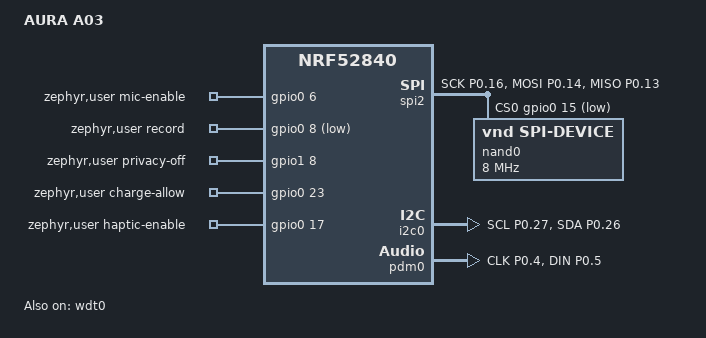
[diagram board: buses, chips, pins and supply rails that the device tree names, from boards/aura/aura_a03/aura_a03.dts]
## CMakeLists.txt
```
cmake_minimum_required(VERSION 3.20.0)
list(APPEND BOARD_ROOT ${CMAKE_CURRENT_SOURCE_DIR})
find_package(Zephyr REQUIRED HINTS $ENV{ZEPHYR_BASE})
project(aura_a03)
target_include_directories(app PRIVATE include)
target_sources(app PRIVATE src/main.c src/journal.c src/nand.c src/protocol.c)
```

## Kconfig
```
mainmenu "AURA A03"
source "Kconfig.zephyr"
config AURA_CHARGE_QUALIFIED
 bool "Enable reviewed charging hardware after pack and thermal qualification"
 default n
 help
   Keep disabled until the assembled pack, NTC and cutoff circuit are qualified.
config AURA_HAPTIC_QUALIFIED
 bool "Enable experimentally qualified C08-00A haptic settings"
 default n
 help
   Enable only after measuring motor RMS/peak voltage and auto-calibration.
```

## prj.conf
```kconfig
CONFIG_GPIO=y
CONFIG_PINCTRL=y
CONFIG_SPI=y
CONFIG_I2C=y
CONFIG_AUDIO=y
CONFIG_AUDIO_DMIC=y
CONFIG_WATCHDOG=y
CONFIG_BT=y
CONFIG_BT_PERIPHERAL=y
CONFIG_BT_DEVICE_NAME="AURA"
CONFIG_BT_MAX_CONN=1
CONFIG_BT_MAX_PAIRED=4
CONFIG_BT_L2CAP_TX_MTU=247
CONFIG_BT_BUF_ACL_RX_SIZE=251
CONFIG_BT_BUF_ACL_TX_SIZE=251
CONFIG_BT_GATT_CLIENT=y
CONFIG_BT_SMP=y
CONFIG_BT_SMP_APP_PAIRING_ACCEPT=y
CONFIG_BT_SMP_SC_ONLY=y
CONFIG_BT_BONDABLE=y
CONFIG_BT_SETTINGS=y
CONFIG_BT_FILTER_ACCEPT_LIST=y
CONFIG_SETTINGS=y
CONFIG_SETTINGS_NVS=y
CONFIG_NVS=y
CONFIG_FLASH=y
CONFIG_FLASH_MAP=y
CONFIG_FLASH_PAGE_LAYOUT=y
CONFIG_HWINFO=y
CONFIG_BT_GATT_DYNAMIC_DB=n
CONFIG_MAIN_STACK_SIZE=4096
CONFIG_SYSTEM_WORKQUEUE_STACK_SIZE=4096
CONFIG_HEAP_MEM_POOL_SIZE=8192
CONFIG_ASSERT=y
CONFIG_REBOOT=y
CONFIG_CONSOLE=n
CONFIG_UART_CONSOLE=n
CONFIG_SERIAL=n
CONFIG_LOG=n
CONFIG_CLOCK_CONTROL_NRF_K32SRC_RC=y
CONFIG_CLOCK_CONTROL_NRF_K32SRC_500PPM=y
CONFIG_CLOCK_CONTROL_NRF_K32SRC_RC_CALIBRATION=y
CONFIG_POWEROFF=y
CONFIG_SIZE_OPTIMIZATIONS=y
CONFIG_BUILD_OUTPUT_BIN=y
CONFIG_BUILD_OUTPUT_HEX=y
CONFIG_USE_DT_CODE_PARTITION=y
CONFIG_AURA_CHARGE_QUALIFIED=n
CONFIG_AURA_HAPTIC_QUALIFIED=n
```

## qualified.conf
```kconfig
# Laboratory-only configuration. Complete README qualification gates first.
# This is not evidence that the pack, NTC or LRA has been qualified.
CONFIG_AURA_CHARGE_QUALIFIED=y
CONFIG_AURA_HAPTIC_QUALIFIED=y
```

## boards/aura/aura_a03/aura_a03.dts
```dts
/dts-v1/;
#include <nordic/nrf52840_qiaa.dtsi>
#include <zephyr/dt-bindings/gpio/gpio.h>
#include <zephyr/dt-bindings/pinctrl/nrf-pinctrl.h>
/ {
 model = "AURA A03";
 compatible = "aura,a03";
 chosen { zephyr,sram = &sram0; zephyr,flash = &flash0; zephyr,code-partition = &app_partition; };
 zephyr,user {
  mic-enable-gpios = <&gpio0 6 GPIO_ACTIVE_HIGH>;
  record-gpios = <&gpio0 8 (GPIO_PULL_UP | GPIO_ACTIVE_LOW)>;
  privacy-off-gpios = <&gpio1 8 (GPIO_PULL_UP | GPIO_ACTIVE_HIGH)>;
  charge-allow-gpios = <&gpio0 23 GPIO_ACTIVE_HIGH>;
  haptic-enable-gpios = <&gpio0 17 GPIO_ACTIVE_HIGH>;
 };
};
&gpio0 {status = "okay";};
&gpio1 {status = "okay";};
&gpiote {status = "okay";};
&wdt0 {status = "okay";};
&uicr {gpio-as-nreset;};
&pinctrl {
 spi_default: spi_default {group1 {psels = <NRF_PSEL(SPIM_SCK,0,16)>, <NRF_PSEL(SPIM_MOSI,0,14)>, <NRF_PSEL(SPIM_MISO,0,13)>;};};
 spi_sleep: spi_sleep {group1 {psels = <NRF_PSEL(SPIM_SCK,0,16)>, <NRF_PSEL(SPIM_MOSI,0,14)>, <NRF_PSEL(SPIM_MISO,0,13)>;low-power-enable;};};
 i2c_default: i2c_default {group1 {psels = <NRF_PSEL(TWIM_SCL,0,27)>, <NRF_PSEL(TWIM_SDA,0,26)>;};};
 i2c_sleep: i2c_sleep {group1 {psels = <NRF_PSEL(TWIM_SCL,0,27)>, <NRF_PSEL(TWIM_SDA,0,26)>;low-power-enable;};};
 pdm_default: pdm_default {group1 {psels = <NRF_PSEL(PDM_CLK,0,4)>, <NRF_PSEL(PDM_DIN,0,5)>;};};
 pdm_sleep: pdm_sleep {group1 {psels = <NRF_PSEL(PDM_CLK,0,4)>, <NRF_PSEL(PDM_DIN,0,5)>;low-power-enable;};};
};
&spi2 {
 compatible = "nordic,nrf-spim";
 status = "okay";
 pinctrl-0 = <&spi_default>; pinctrl-1 = <&spi_sleep>; pinctrl-names = "default", "sleep";
 cs-gpios = <&gpio0 15 GPIO_ACTIVE_LOW>;
 nand0: nand@0 {compatible = "vnd,spi-device";reg = <0>;spi-max-frequency = <8000000>;};
};
&i2c0 {
 compatible = "nordic,nrf-twim"; status = "okay";
 pinctrl-0 = <&i2c_default>; pinctrl-1 = <&i2c_sleep>; pinctrl-names = "default", "sleep";
};
&pdm0 {status = "okay";pinctrl-0 = <&pdm_default>;pinctrl-1 = <&pdm_sleep>;pinctrl-names = "default", "sleep";};
&flash0 {
 partitions {compatible = "fixed-partitions";#address-cells = <1>;#size-cells = <1>;
  app_partition: partition@0 {label = "image-0";reg = <0x00000000 0x000f8000>;};
  storage_partition: partition@f8000 {label = "storage";reg = <0x000f8000 0x00008000>;};
 };
};
```

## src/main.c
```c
/* SPDX-License-Identifier: MIT */
#include "aura.h"
#include "nand.h"
#include "gestures.h"
#include "pcm.h"
#include "maintenance.h"
#include <zephyr/settings/settings.h>
#include <zephyr/audio/dmic.h>
#include <zephyr/drivers/gpio.h>
#include <zephyr/drivers/i2c.h>
#include <zephyr/drivers/watchdog.h>
#include <zephyr/sys/atomic.h>
#include <zephyr/sys/byteorder.h>
#include <zephyr/sys/reboot.h>
#include <zephyr/fatal.h>
#include <errno.h>
#include <string.h>
struct aj_store aura_store;
K_MUTEX_DEFINE(aura_store_lock);
volatile uint8_t aura_state;
volatile bool aura_privacy = true, aura_charge_allowed;
volatile uint16_t aura_battery_mv;
static const struct gpio_dt_spec mic = GPIO_DT_SPEC_GET(DT_PATH(zephyr_user), mic_enable_gpios),
                                 record = GPIO_DT_SPEC_GET(DT_PATH(zephyr_user), record_gpios),
                                 privacy =
                                     GPIO_DT_SPEC_GET(DT_PATH(zephyr_user), privacy_off_gpios),
                                 charge =
                                     GPIO_DT_SPEC_GET(DT_PATH(zephyr_user), charge_allow_gpios),
                                 haptic =
                                     GPIO_DT_SPEC_GET(DT_PATH(zephyr_user), haptic_enable_gpios);
static const struct device *pdm = DEVICE_DT_GET(DT_NODELABEL(pdm0)),
                           *i2c = DEVICE_DT_GET(DT_NODELABEL(i2c0)),
                           *wdt = DEVICE_DT_GET(DT_NODELABEL(wdt0));
static uint64_t unix_anchor;
static int64_t uptime_anchor;
static struct k_spinlock time_lock;
static atomic_t wanted, storage_ready, mark_pending;
static bool format_intent;
static uint32_t id_floor = 1;
static int64_t maintenance_until;
static bool haptic_ready;
static int watchdog_channel = -1;
static atomic_t audio_heartbeat;
static struct gpio_callback privacy_cb;
K_MEM_SLAB_DEFINE_STATIC(audio_slab, 2560, 8, 4);
K_THREAD_STACK_DEFINE(audio_stack, 4096);
static struct k_thread audio_thread;
bool aura_capture_pending(void)
{
    return atomic_get(&wanted) != 0;
}
static int load_maintenance(const char *key, size_t len, settings_read_cb read, void *arg)
{
    if (!strcmp(key, "nextid") && len == 4) {
        uint8_t bytes[4];
        if (read(arg, bytes, 4) != 4)
            return -EIO;
        id_floor = sys_get_le32(bytes);
        return id_floor ? 0 : -EINVAL;
    }
    if (strcmp(key, "erase") || len != 1)
        return -ENOENT;
    uint8_t value = 0;
    int r = read(arg, &value, 1);
    if (r != 1)
        return -EIO;
    format_intent = value != 0;
    return 0;
}
SETTINGS_STATIC_HANDLER_DEFINE(aura_persistence, "aura", NULL, load_maintenance, NULL, NULL);
static int save_intent(bool enabled)
{
    if (aura_store.next_id > id_floor)
        id_floor = aura_store.next_id;
    if (aura_store.next_id < id_floor)
        aura_store.next_id = id_floor;
    uint8_t id[4];
    sys_put_le32(id_floor, id);
    int r = settings_save_one("aura/nextid", id, 4);
    if (r)
        return r;
    uint8_t v = enabled ? 1 : 0;
    r = settings_save_one("aura/erase", &v, 1);
    if (!r)
        format_intent = enabled;
    return r;
}
int aura_format(void)
{
    /* Called with the storage mutex held; a new physical gesture is required per attempt. */
    if (!atomic_get(&storage_ready) || aura_store.fault || aura_state == 1 || aura_state == 2 ||
        atomic_get(&wanted) || k_uptime_get() >= maintenance_until ||
        !aura_all_deleted(&aura_store))
        return -EPERM;
    maintenance_until = 0;
    atomic_clear(&storage_ready);
    aura_state = 2;
    gpio_pin_set_dt(&charge, 0);
    aura_charge_allowed = false;
    int r = aura_erase_run(&aura_store,
                           (struct aura_maintenance_io){save_intent, aura_nand_erase_block}, false);
    if (r) {
        aura_store.fault = true;
        aura_state = 4;
    } else {
        atomic_set(&storage_ready, 1);
        aura_state = aura_privacy ? 3 : 0;
    }
    return r;
}
uint64_t aura_time(void)
{
    k_spinlock_key_t k = k_spin_lock(&time_lock);
    uint64_t t = unix_anchor ? unix_anchor + (k_uptime_get() - uptime_anchor) / 1000 : 0;
    k_spin_unlock(&time_lock, k);
    return t;
}
void aura_set_time(uint64_t time)
{
    k_spinlock_key_t k = k_spin_lock(&time_lock);
    unix_anchor = time;
    uptime_anchor = k_uptime_get();
    k_spin_unlock(&time_lock, k);
}
static void fail_off(void)
{
    gpio_pin_set_dt(&mic, 0);
    gpio_pin_set_dt(&charge, 0);
    aura_charge_allowed = false;
    atomic_clear(&wanted);
}
void k_sys_fatal_error_handler(unsigned int reason, const struct arch_esf *esf)
{
    ARG_UNUSED(reason);
    ARG_UNUSED(esf);
    if (gpio_is_ready_dt(&mic))
        gpio_pin_set_dt(&mic, 0);
    if (gpio_is_ready_dt(&charge))
        gpio_pin_set_dt(&charge, 0);
    if (gpio_is_ready_dt(&haptic))
        gpio_pin_set_dt(&haptic, 0);
    sys_reboot(SYS_REBOOT_COLD);
}
static void privacy_interrupt(const struct device *dev, struct gpio_callback *cb, uint32_t pins)
{
    ARG_UNUSED(dev);
    ARG_UNUSED(cb);
    ARG_UNUSED(pins);
    if (gpio_pin_get_dt(&privacy) != 0) {
        gpio_pin_set_dt(&mic, 0);
        atomic_clear(&wanted);
        aura_privacy = true;
    }
}
static int gauge_read(void)
{
    uint8_t bytes[2];
    int r = i2c_burst_read(i2c, 0x36, 0x02, bytes, 2);
    if (r) {
        aura_battery_mv = 0;
        return r;
    }
    aura_battery_mv = ((uint32_t)sys_get_be16(bytes) * 625) / 8000;
    return 0;
}
static int haptic_init(void)
{
    if (!IS_ENABLED(CONFIG_AURA_HAPTIC_QUALIFIED))
        return 0;
    /* Conservative engineering target only. C08-00A: 0.84 Vrms, 240 Hz.
     * DRV2605L datasheet equations: sample_time=300us, DRIVE_TIME=2.1ms.
     * Rated register round(0.84*sqrt(1-(4*.0003+.0003)*240)/.02058)=33.
     * Clamp round(1.20/.02133)=56, below candidate 1.25V maximum.
     * Scope RMS/peaks and verify resonant behavior before qualifying this option. */
    gpio_pin_set_dt(&haptic, 1);
    k_msleep(2);
    uint8_t status;
    int r = i2c_reg_read_byte(i2c, 0x5a, 0, &status);
    if (r || (status >> 5) != 7)
        goto fail;
    const uint8_t regs[][2] = {{1, 0},       {0x16, 33},   {0x17, 56},   {0x1a, 0xb6}, {0x1b, 0x14},
                               {0x1c, 0xf5}, {0x1d, 0x80}, {0x1e, 0x30}, {1, 7},       {0x0c, 1}};
    for (unsigned n = 0; n < ARRAY_SIZE(regs); n++)
        if (i2c_reg_write_byte(i2c, 0x5a, regs[n][0], regs[n][1]))
            goto fail;
    for (int n = 0; n < 100; n++) {
        uint8_t go;
        if (i2c_reg_read_byte(i2c, 0x5a, 0x0c, &go))
            goto fail;
        if (!go) {
            if (i2c_reg_read_byte(i2c, 0x5a, 0, &status) || status & 0x08)
                goto fail;
            haptic_ready = true;
            gpio_pin_set_dt(&haptic, 0);
            return 0;
        }
        k_msleep(10);
    }
fail:
    gpio_pin_set_dt(&haptic, 0);
    return -EIO;
}
static void feedback(void)
{
    if (!haptic_ready)
        return;
    gpio_pin_set_dt(&haptic, 1);
    k_msleep(2);
    if (i2c_reg_write_byte(i2c, 0x5a, 1, 5) || i2c_reg_write_byte(i2c, 0x5a, 2, 35)) {
        haptic_ready = false;
        gpio_pin_set_dt(&haptic, 0);
        return;
    }
    k_msleep(30);
    i2c_reg_write_byte(i2c, 0x5a, 2, 0);
    gpio_pin_set_dt(&haptic, 0);
}
static void capture(void *a, void *b, void *c)
{
    ARG_UNUSED(a);
    ARG_UNUSED(b);
    ARG_UNUSED(c);
    bool running = false;
    uint8_t payload[AJ_PAYLOAD];
    unsigned used = 0;
    unsigned warmup = 0;
    struct pcm_stream_cfg stream = {
        .pcm_rate = 16000, .pcm_width = 16, .block_size = 2560, .mem_slab = &audio_slab};
    struct dmic_cfg cfg = {
        .io = {.min_pdm_clk_freq = 1280000,
               .max_pdm_clk_freq = 1280000,
               .min_pdm_clk_dc = 40,
               .max_pdm_clk_dc = 60},
        .streams = &stream,
        .channel = {.req_num_streams = 1, .req_num_chan = 2, .req_chan_map_lo = 0}};
    cfg.channel.req_chan_map_lo =
        dmic_build_channel_map(0, 0, PDM_CHAN_LEFT) | dmic_build_channel_map(1, 0, PDM_CHAN_RIGHT);
    while (1) {
        atomic_inc(&audio_heartbeat);
        if (!running) {
            if (!atomic_get(&wanted)) {
                k_msleep(10);
                continue;
            }
            if (aura_privacy || !atomic_get(&storage_ready) || aura_battery_mv < 3400) {
                atomic_clear(&wanted);
                continue;
            }
            k_mutex_lock(&aura_store_lock, K_FOREVER);
            int r = aj_begin(&aura_store, aura_time());
            k_mutex_unlock(&aura_store_lock);
            if (r) {
                aura_state = 4;
                atomic_clear(&wanted);
                continue;
            }
            used = 0;
            warmup = 2;
            r = dmic_configure(pdm, &cfg);
            if (!r && !aura_privacy && atomic_get(&wanted)) {
                gpio_pin_set_dt(&mic, 1);
                k_msleep(50);
                if (aura_privacy || !atomic_get(&wanted))
                    r = -ECANCELED;
                else
                    r = dmic_trigger(pdm, DMIC_TRIGGER_START);
            } else if (!r)
                r = -ECANCELED;
            if (r) {
                gpio_pin_set_dt(&mic, 0);
                k_mutex_lock(&aura_store_lock, K_FOREVER);
                aj_end(&aura_store, true);
                k_mutex_unlock(&aura_store_lock);
                atomic_clear(&wanted);
                aura_state = 4;
                continue;
            }
            running = true;
            aura_state = 1;
        }
        int r = 0;
        if (atomic_get(&wanted) && !aura_privacy) {
            void *buffer = NULL;
            uint32_t size = 0;
            r = dmic_read(pdm, 0, &buffer, &size, 250);
            if (!r) {
                /* Two 40 ms blocks with clocks present cover microphone power-up,
                 * wake and the PDM decimator's startup delay. Do not save transients. */
                if (warmup) {
                    warmup--;
                    k_mem_slab_free(&audio_slab, buffer);
                    continue;
                }
                if (size % 4)
                    r = -EBADMSG;
                int16_t *samples = buffer;
                for (unsigned i = 0; !r && i < size / 2; i += 2) {
                    /* Zephyr selects RATIO80 with the constrained 1.280 MHz clock:
                     * 32 MHz /25 /80 = exact 16000 Hz, within Knowles standard mode. */
                    sys_put_le16((uint16_t)aura_mix(samples[i], samples[i + 1]), payload + used);
                    used += 2;
                    if (used == AJ_PAYLOAD) {
                        k_mutex_lock(&aura_store_lock, K_FOREVER);
                        r = aj_append(&aura_store, payload, used);
                        k_mutex_unlock(&aura_store_lock);
                        used = 0;
                        if (r)
                            break;
                    }
                }
                k_mem_slab_free(&audio_slab, buffer);
            }
            if (atomic_cas(&mark_pending, 1, 0) && !r) {
                k_mutex_lock(&aura_store_lock, K_FOREVER);
                if (used) {
                    r = aj_append(&aura_store, payload, used);
                    used = 0;
                }
                if (!r)
                    r = aj_mark(&aura_store);
                k_mutex_unlock(&aura_store_lock);
            }
        }
        if (r || !atomic_get(&wanted) || aura_privacy) {
            gpio_pin_set_dt(&mic, 0);
            aura_state = 2;
            dmic_trigger(pdm, DMIC_TRIGGER_STOP);
            void *left;
            uint32_t left_size;
            while (dmic_read(pdm, 0, &left, &left_size, 0) == 0)
                k_mem_slab_free(&audio_slab, left);
            k_mutex_lock(&aura_store_lock, K_FOREVER);
            if (used && !r)
                r = aj_append(&aura_store, payload, used);
            int end = aj_end(&aura_store, r != 0);
            k_mutex_unlock(&aura_store_lock);
            atomic_clear(&wanted);
            running = false;
            atomic_clear(&mark_pending);
            aura_state = (r || end) ? 4 : (aura_privacy ? 3 : 0);
            if (r && r != -ENOSPC)
                fail_off();
        }
    }
}
int main(void)
{
    /* Hardware pulldowns enforce these levels before Zephyr reaches main. */
    if (!gpio_is_ready_dt(&mic) || !gpio_is_ready_dt(&charge) || !gpio_is_ready_dt(&privacy) ||
        !gpio_is_ready_dt(&haptic) || !gpio_is_ready_dt(&record))
        return -ENODEV;
    gpio_pin_configure_dt(&charge, GPIO_OUTPUT_INACTIVE);
    gpio_pin_configure_dt(&mic, GPIO_OUTPUT_INACTIVE);
    gpio_pin_configure_dt(&haptic, GPIO_OUTPUT_INACTIVE);
    gpio_pin_configure_dt(&privacy, GPIO_INPUT);
    gpio_pin_configure_dt(&record, GPIO_INPUT);
    gpio_init_callback(&privacy_cb, privacy_interrupt, BIT(privacy.pin));
    gpio_add_callback(privacy.port, &privacy_cb);
    gpio_pin_interrupt_configure_dt(&privacy, GPIO_INT_EDGE_BOTH);
    aura_privacy = gpio_pin_get_dt(&privacy) != 0;
    aura_state = aura_privacy ? 3 : 0;
    k_msleep(2);
    if (!device_is_ready(pdm) || !device_is_ready(i2c)) {
        aura_state = 4;
        return -ENODEV;
    }
    aura_state = 2;
    if (aura_bluetooth_init()) {
        fail_off();
        aura_state = 4;
        return -EIO;
    }
    k_mutex_lock(&aura_store_lock, K_FOREVER);
    int r = aura_nand_init();
    if (!r) {
        aura_store.io = aura_nand_io();
        aura_store.active = -1;
        if (format_intent)
            r = aura_erase_run(&aura_store,
                               (struct aura_maintenance_io){save_intent, aura_nand_erase_block},
                               true);
        else
            r = aj_mount(&aura_store, aura_nand_io());
    }
    if (r) {
        aura_store.fault = true;
        aura_state = 4;
    } else {
        atomic_set(&storage_ready, 1);
        aura_state = aura_privacy ? 3 : 0;
    }
    k_mutex_unlock(&aura_store_lock);
    if (aura_store.next_id < id_floor)
        aura_store.next_id = id_floor;
    gauge_read();
    haptic_init();
    if (IS_ENABLED(CONFIG_AURA_CHARGE_QUALIFIED) && !r && aura_battery_mv >= 2500 &&
        aura_battery_mv <= 4250) {
        gpio_pin_set_dt(&charge, 1);
        aura_charge_allowed = true;
    }
    k_thread_create(&audio_thread, audio_stack, K_THREAD_STACK_SIZEOF(audio_stack), capture, NULL,
                    NULL, NULL, 5, 0, K_NO_WAIT);
    if (device_is_ready(wdt)) {
        struct wdt_timeout_cfg w = {
            .window = {.min = 0, .max = 8000}, .callback = NULL, .flags = WDT_FLAG_RESET_SOC};
        watchdog_channel = wdt_install_timeout(wdt, &w);
        if (watchdog_channel >= 0 && wdt_setup(wdt, WDT_OPT_PAUSE_HALTED_BY_DBG))
            watchdog_channel = -1;
    }
    struct aura_gesture_state gestures = {0};
    int64_t next_gauge = 0;
    atomic_val_t prior_audio = 0;
    int64_t audio_changed = k_uptime_get();
    while (1) {
        int64_t now = k_uptime_get();
        int raw = gpio_pin_get_dt(&record);
        bool off = gpio_pin_get_dt(&privacy) != 0;
        aura_privacy = off;
        if (off) {
            gpio_pin_set_dt(&mic, 0);
            atomic_clear(&wanted);
            if (aura_state == 0)
                aura_state = 3;
        } else if (aura_state == 3)
            aura_state = 0;
        if (raw < 0) {
            fail_off();
            aura_state = 4;
            raw = 0;
        }
        enum aura_gesture gesture = aura_gesture_tick(&gestures, raw, now);
        if (gesture == AG_HOLD && (aura_state == 0 || aura_state == 3 || aura_state == 4)) {
            aura_pairing_window();
            feedback();
        }
        if (gesture == AG_MAINTENANCE && (aura_state == 0 || aura_state == 3 || aura_state == 4))
            maintenance_until = now + 30000;
        if (gesture == AG_DOUBLE && aura_state == 1) {
            atomic_set(&mark_pending, 1);
            feedback();
        }
        if (gesture == AG_PRESS) {
            if (aura_state == 1)
                atomic_clear(&wanted);
            else if (aura_state == 0 && !off && aura_battery_mv >= 3500 &&
                     atomic_get(&storage_ready)) {
                if (k_mutex_lock(&aura_store_lock, K_NO_WAIT) == 0) {
                    if (aura_state == 0)
                        atomic_set(&wanted, 1);
                    k_mutex_unlock(&aura_store_lock);
                    feedback();
                }
            }
        }
        if (now >= next_gauge) {
            next_gauge = now + 2000;
            int gauge = gauge_read();
            if (gauge || aura_battery_mv < 3300)
                atomic_clear(&wanted);
            if (IS_ENABLED(CONFIG_AURA_CHARGE_QUALIFIED) && !gauge && aura_battery_mv >= 2000 &&
                aura_battery_mv <= 4250 && !aura_store.fault && aura_state != 4 &&
                atomic_get(&storage_ready)) {
                gpio_pin_set_dt(&charge, 1);
                aura_charge_allowed = true;
            } else {
                gpio_pin_set_dt(&charge, 0);
                aura_charge_allowed = false;
            }
            if (aura_battery_mv > 4250)
                fail_off();
        }
        atomic_val_t beat = atomic_get(&audio_heartbeat);
        if (beat != prior_audio) {
            prior_audio = beat;
            audio_changed = now;
        }
        if (now - audio_changed < 3000 && watchdog_channel >= 0)
            wdt_feed(wdt, watchdog_channel);
        else if (now - audio_changed >= 3000) {
            fail_off();
            aura_state = 4;
        }
        k_msleep(10);
    }
    return 0;
}
```

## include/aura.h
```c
#ifndef AURA_H
#define AURA_H
#include <stdint.h>
#include <stdbool.h>
#include <zephyr/kernel.h>
#include "journal.h"
extern struct aj_store aura_store;
extern struct k_mutex aura_store_lock;
extern volatile uint8_t aura_state;
extern volatile bool aura_privacy, aura_charge_allowed;
extern volatile uint16_t aura_battery_mv;
uint64_t aura_time(void);
void aura_set_time(uint64_t unix_seconds);
int aura_bluetooth_init(void);
void aura_pairing_window(void);
int aura_format(void);
bool aura_capture_pending(void);
#endif
```

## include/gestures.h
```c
#ifndef AURA_GESTURES_H
#define AURA_GESTURES_H
#include <stdint.h>
#include <stdbool.h>
enum aura_gesture { AG_NONE, AG_PRESS, AG_DOUBLE, AG_HOLD, AG_MAINTENANCE };
struct aura_gesture_state {
    int raw, stable, clicks;
    int64_t change, pressed, deadline;
    bool held, maintenance;
};
static inline enum aura_gesture aura_gesture_tick(struct aura_gesture_state *g, int raw,
                                                  int64_t now)
{
    if (raw != g->raw) {
        g->raw = raw;
        g->change = now;
    }
    if (raw != g->stable && now - g->change >= 25) {
        g->stable = raw;
        if (raw) {
            g->pressed = now;
            g->held = false;
            g->maintenance = false;
        } else if (!g->held) {
            g->clicks++;
            g->deadline = now + 300;
        }
    }
    if (g->stable && !g->held && now - g->pressed >= 3000) {
        g->held = true;
        g->clicks = 0;
        return AG_HOLD;
    }
    if (g->stable && !g->maintenance && now - g->pressed >= 10000) {
        g->maintenance = true;
        g->clicks = 0;
        return AG_MAINTENANCE;
    }
    if (g->clicks && now >= g->deadline && !g->stable) {
        int n = g->clicks;
        g->clicks = 0;
        return n >= 2 ? AG_DOUBLE : AG_PRESS;
    }
    return AG_NONE;
}
#endif
```

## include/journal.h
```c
/* SPDX-License-Identifier: MIT */
#ifndef AURA_JOURNAL_H
#define AURA_JOURNAL_H
#include <stdint.h>
#include <stddef.h>
#include <stdbool.h>
#define AJ_PAGE 2048u
#define AJ_HEADER 40u
#define AJ_PAYLOAD (AJ_PAGE - AJ_HEADER)
#define AJ_MAX_NOTES 128
enum { AJ_START = 1, AJ_DATA = 2, AJ_END = 3, AJ_DELETE = 4, AJ_MARK = 5 };
/* Backend returns -EBADMSG for uncorrectable ECC; erased pages are 0xff. */
struct aj_io {
    int (*read)(uint32_t page, uint8_t *out);
    int (*write)(uint32_t page, const uint8_t *in);
    bool (*bad)(uint32_t block);
    uint32_t pages;
};
struct aj_note {
    uint32_t id, first, last, bytes, crc;
    uint64_t time;
    bool deleted, recovered, fault;
};
struct aj_store {
    struct aj_io io;
    struct aj_note notes[AJ_MAX_NOTES];
    uint16_t count;
    int active;
    uint32_t next, next_id;
    uint32_t cursor_id, cursor_page, cursor_offset;
    bool fault;
    uint8_t page[AJ_PAGE];
};
uint32_t aj_crc(uint32_t prior, const void *data, size_t len);
int aj_mount(struct aj_store *s, struct aj_io io);
int aj_begin(struct aj_store *s, uint64_t time);
int aj_append(struct aj_store *s, const uint8_t *pcm, uint16_t size);
int aj_end(struct aj_store *s, bool interrupted);
int aj_mark(struct aj_store *s);
int aj_delete(struct aj_store *s, uint32_t id, uint32_t size, uint32_t crc);
struct aj_note *aj_find(struct aj_store *s, uint32_t id);
int aj_read(struct aj_store *s, uint32_t id, uint32_t offset, uint8_t *out, uint16_t size);
uint32_t aj_free(const struct aj_store *s);
#endif
```

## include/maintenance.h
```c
#ifndef AURA_MAINTENANCE_H
#define AURA_MAINTENANCE_H
#include "journal.h"
/* Internal NVS intent precedes the first destructive erase. An interrupted
 * attempt resumes the complete erase, so removed tombstones cannot resurrect data. */
struct aura_maintenance_io {
    int (*intent)(bool);
    int (*erase)(uint32_t);
};
static inline bool aura_all_deleted(const struct aj_store *s)
{
    if (s->active >= 0)
        return false;
    for (unsigned i = 0; i < s->count; i++)
        if (!s->notes[i].deleted)
            return false;
    return true;
}
static inline int aura_erase_run(struct aj_store *s, struct aura_maintenance_io m, bool resuming)
{
    if (!resuming && !aura_all_deleted(s))
        return -1;
    int r = m.intent(true);
    if (r)
        return r;
    for (uint32_t b = 0; b < s->io.pages / 64; b++) {
        if (s->io.bad(b))
            continue;
        r = m.erase(b);
        if (r)
            return r;
    }
    struct aj_io io = s->io;
    r = aj_mount(s, io);
    if (r)
        return r;
    return m.intent(false);
}
#endif
```

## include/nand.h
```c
#ifndef AURA_NAND_H
#define AURA_NAND_H
#include "journal.h"
int aura_nand_init(void);
struct aj_io aura_nand_io(void);
int aura_nand_erase_block(uint32_t block);
#endif
```

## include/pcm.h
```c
#ifndef AURA_PCM_H
#define AURA_PCM_H
#include <stdint.h>
/* A wide accumulator prevents overflow when both channels approach full scale. */
static inline int16_t aura_mix(int16_t left, int16_t right)
{
    return (int16_t)(((int32_t)left + right) / 2);
}
#endif
```

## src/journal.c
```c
/* SPDX-License-Identifier: MIT
 * An append-only, once-programmed-page NAND journal. No audio is overwritten.
 * Each page has a CRC over its header and payload. Erase/reclamation is deliberately
 * absent: deleting a note records a tombstone but never risks a live erase block.
 */
#include "journal.h"
#include <string.h>
#include <errno.h>
#define MAGIC 0x33415241u
static uint32_t get32(const uint8_t *p)
{
    return (uint32_t)p[0] | (uint32_t)p[1] << 8 | (uint32_t)p[2] << 16 | (uint32_t)p[3] << 24;
}
static void put32(uint8_t *p, uint32_t v)
{
    for (int i = 0; i < 4; i++)
        p[i] = (uint8_t)(v >> (8 * i));
}
uint32_t aj_crc(uint32_t prior, const void *data, size_t len)
{
    uint32_t c = ~prior;
    const uint8_t *p = data;
    while (len--) {
        c ^= *p++;
        for (int i = 0; i < 8; i++)
            c = (c >> 1) ^ (0xedb88320u & (0u - (c & 1)));
    }
    return ~c;
}
static uint32_t page_crc(const uint8_t *p)
{
    uint32_t c = aj_crc(0, p, 36);
    return aj_crc(c, p + AJ_HEADER, get32(p + 16));
}
static int valid(const uint8_t *p)
{
    return get32(p) == MAGIC && p[4] == 1 && get32(p + 16) <= AJ_PAYLOAD &&
           get32(p + 36) == page_crc(p);
}
static bool empty(const uint8_t *p)
{
    for (unsigned i = 0; i < AJ_PAGE; i++)
        if (p[i] != 255)
            return false;
    return true;
}
static uint32_t next_good(struct aj_store *s, uint32_t p)
{
    while (p < s->io.pages && s->io.bad(p / 64))
        p = (p / 64 + 1) * 64;
    /* Preserve both manufacturer-marker pages in every erase block. */
    if (p < s->io.pages && p % 64 < 2)
        p += 2 - p % 64;
    return p;
}
struct aj_note *aj_find(struct aj_store *s, uint32_t id)
{
    for (int i = 0; i < s->count; i++)
        if (s->notes[i].id == id && !s->notes[i].deleted)
            return &s->notes[i];
    return NULL;
}
static int emit(struct aj_store *s, int type, uint32_t id, uint32_t offset, const uint8_t *data,
                uint32_t n, uint64_t time, uint32_t crc, uint8_t flags)
{
    s->next = next_good(s, s->next);
    if (s->next >= s->io.pages)
        return -ENOSPC;
    uint8_t *p = s->page;
    memset(p, 255, AJ_PAGE);
    put32(p, MAGIC);
    p[4] = 1;
    p[5] = type;
    p[6] = flags;
    p[7] = 0;
    put32(p + 8, id);
    put32(p + 12, offset);
    put32(p + 16, n);
    put32(p + 20, (uint32_t)time);
    put32(p + 24, (uint32_t)(time >> 32));
    put32(p + 28, crc);
    put32(p + 32, 0);
    if (n)
        memcpy(p + AJ_HEADER, data, n);
    put32(p + 36, page_crc(p));
    uint32_t at = s->next++;
    int r = s->io.write(at, p);
    if (r) {
        s->fault = true;
        return r;
    }
    return 0;
}
int aj_mount(struct aj_store *s, struct aj_io io)
{
    memset(s, 0, sizeof(*s));
    s->io = io;
    s->active = -1;
    s->next_id = 1;
    int current = -1;
    bool closed = false;
    /* Scan all pages: a torn/erased page is not a trustworthy high-water mark. */
    for (uint32_t at = 0; at < io.pages; at = next_good(s, at + 1)) {
        at = next_good(s, at);
        if (at >= io.pages)
            break;
        int r = io.read(at, s->page);
        if (r) {
            s->fault = true;
            s->next = at + 1;
            if (current >= 0)
                s->notes[current].fault = true;
            continue;
        }
        if (empty(s->page))
            continue;
        s->next = at + 1;
        if (!valid(s->page)) {
            if (current >= 0 && !closed) {
                s->notes[current].recovered = true;
                closed = true;
            }
            continue;
        }
        uint8_t *p = s->page;
        uint32_t id = get32(p + 8), off = get32(p + 12), n = get32(p + 16);
        if (id >= s->next_id)
            s->next_id = id + 1;
        if (p[5] == AJ_START) {
            if (s->count >= AJ_MAX_NOTES) {
                s->fault = true;
                continue;
            }
            current = s->count++;
            closed = false;
            s->notes[current] =
                (struct aj_note){.id = id,
                                 .first = at,
                                 .last = at,
                                 .time = (uint64_t)get32(p + 20) | ((uint64_t)get32(p + 24) << 32),
                                 .recovered = true};
        } else if (p[5] == AJ_DELETE) {
            struct aj_note *note = aj_find(s, id);
            if (note && note->bytes == off && note->crc == get32(p + 28))
                note->deleted = true;
        } else if (current >= 0 && s->notes[current].id == id && !closed) {
            struct aj_note *note = &s->notes[current];
            if (p[5] == AJ_DATA) {
                if (off != note->bytes || n % 2) {
                    note->fault = true;
                    closed = true;
                    continue;
                }
                note->crc = aj_crc(note->crc, p + AJ_HEADER, n);
                note->bytes += n;
                note->last = at;
            } else if (p[5] == AJ_END) {
                if (off != note->bytes || get32(p + 28) != note->crc)
                    note->fault = true;
                else
                    note->recovered = (p[6] & 1) != 0;
                closed = true;
            }
        }
    }
    s->next = next_good(s, s->next);
    return s->fault ? -EIO : 0;
}
uint32_t aj_free(const struct aj_store *s)
{
    uint32_t pages = 0;
    for (uint32_t p = s->next; p < s->io.pages; p++)
        if (!s->io.bad(p / 64) && p % 64 >= 2)
            pages++;
    return pages > 2 ? (pages - 2) * AJ_PAYLOAD : 0;
}
int aj_begin(struct aj_store *s, uint64_t time)
{
    if (s->fault)
        return -EIO;
    if (s->active >= 0)
        return -EBUSY;
    if (s->count >= AJ_MAX_NOTES || aj_free(s) < AJ_PAYLOAD * 3)
        return -ENOSPC;
    if (s->next_id == 0)
        return -EOVERFLOW;
    uint32_t id = s->next_id++, first = next_good(s, s->next);
    int r = emit(s, AJ_START, id, 0, NULL, 0, time, 0, 0);
    if (r)
        return r;
    s->active = s->count++;
    s->notes[s->active] =
        (struct aj_note){.id = id, .first = first, .last = first, .time = time, .recovered = true};
    return 0;
}
int aj_append(struct aj_store *s, const uint8_t *pcm, uint16_t size)
{
    if (s->active < 0)
        return -EINVAL;
    if (size > AJ_PAYLOAD || size % 2)
        return -EINVAL;
    if (aj_free(s) < AJ_PAYLOAD)
        return -ENOSPC;
    struct aj_note *n = &s->notes[s->active];
    uint32_t at = next_good(s, s->next);
    int r = emit(s, AJ_DATA, n->id, n->bytes, pcm, size, 0, 0, 0);
    if (r)
        return r;
    n->crc = aj_crc(n->crc, pcm, size);
    n->bytes += size;
    n->last = at;
    return 0;
}
int aj_end(struct aj_store *s, bool interrupted)
{
    if (s->active < 0)
        return -EINVAL;
    struct aj_note *n = &s->notes[s->active];
    int r = emit(s, AJ_END, n->id, n->bytes, NULL, 0, 0, n->crc, interrupted ? 1 : 0);
    n->recovered = interrupted || r;
    s->active = -1;
    return r;
}
int aj_mark(struct aj_store *s)
{
    if (s->active < 0)
        return -EINVAL;
    struct aj_note *n = &s->notes[s->active];
    return emit(s, AJ_MARK, n->id, n->bytes, NULL, 0, 0, 0, 0);
}
int aj_delete(struct aj_store *s, uint32_t id, uint32_t size, uint32_t crc)
{
    if (s->active >= 0)
        return -EBUSY;
    struct aj_note *n = aj_find(s, id);
    if (!n)
        return -ENOENT;
    if (n->fault || n->bytes != size || n->crc != crc)
        return -EPERM;
    int r = emit(s, AJ_DELETE, id, size, NULL, 0, 0, crc, 0);
    if (!r)
        n->deleted = true;
    return r;
}
int aj_read(struct aj_store *s, uint32_t id, uint32_t offset, uint8_t *out, uint16_t size)
{
    struct aj_note *n = aj_find(s, id);
    if (!n)
        return -ENOENT;
    if (n->fault)
        return -EIO;
    if (s->active >= 0 && &s->notes[s->active] == n)
        return -EBUSY;
    if (offset > n->bytes)
        return -EINVAL;
    if (size > n->bytes - offset)
        size = n->bytes - offset;
    uint16_t copied = 0;
    uint32_t first =
        (s->cursor_id == id && offset >= s->cursor_offset) ? s->cursor_page : n->first + 1;
    for (uint32_t at = first; at <= n->last && copied < size; at = next_good(s, at + 1)) {
        int r = s->io.read(at, s->page);
        if (r)
            return r;
        if (!valid(s->page))
            return -EBADMSG;
        uint8_t *p = s->page;
        if (get32(p + 8) != id || p[5] != AJ_DATA)
            continue;
        uint32_t start = get32(p + 12), len = get32(p + 16);
        if (offset >= start + len)
            continue;
        if (offset < start)
            return -EBADMSG;
        s->cursor_id = id;
        s->cursor_page = at;
        s->cursor_offset = start;
        uint32_t skip = offset - start, take = len - skip;
        if (take > size - copied)
            take = size - copied;
        memcpy(out + copied, p + AJ_HEADER + skip, take);
        copied += take;
        offset += take;
    }
    return copied == size ? copied : -EIO;
}
```

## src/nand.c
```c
/* SPDX-License-Identifier: MIT
 * W25N01GV Rev R command set. Internal ECC, buffer mode; single page programs.
 * Factory bad marks are read with ECC disabled before use. No block erase API.
 */
#include "nand.h"
#include <zephyr/kernel.h>
#include <zephyr/drivers/spi.h>
#include <errno.h>
#include <string.h>
static const struct spi_dt_spec flash =
    SPI_DT_SPEC_GET(DT_NODELABEL(nand0), SPI_WORD_SET(8) | SPI_TRANSFER_MSB, 0);
static uint8_t bad_blocks[128];
static uint8_t check[AJ_PAGE];
static int command(const uint8_t *header, size_t n, const uint8_t *out, size_t olen, uint8_t *in,
                   size_t ilen)
{
    struct spi_buf txb[2] = {{.buf = (void *)header, .len = n},
                             {.buf = (void *)out, .len = olen ? olen : ilen}};
    struct spi_buf rxb[2] = {{.buf = NULL, .len = n}, {.buf = in, .len = ilen}};
    struct spi_buf_set tx = {.buffers = txb, .count = (olen || ilen) ? 2 : 1},
                       rx = {.buffers = rxb, .count = 2};
    return ilen ? spi_transceive_dt(&flash, &tx, &rx) : spi_write_dt(&flash, &tx);
}
static int feature(uint8_t reg, uint8_t *v)
{
    uint8_t h[] = {0x0f, reg};
    return command(h, 2, NULL, 0, v, 1);
}
static int set_feature(uint8_t reg, uint8_t v)
{
    uint8_t enable = 0x06;
    int r = command(&enable, 1, NULL, 0, NULL, 0);
    if (r)
        return r;
    uint8_t h[] = {0x1f, reg, v};
    return command(h, 3, NULL, 0, NULL, 0);
}
static int wait_ready(uint8_t *status)
{
    int64_t until = k_uptime_get() + 30;
    do {
        int r = feature(0xc0, status);
        if (r)
            return r;
        if (!(*status & 1))
            return 0;
        k_usleep(100);
    } while (k_uptime_get() < until);
    return -ETIMEDOUT;
}
static int cache_page(uint32_t page, bool ecc)
{
    uint8_t h[] = {0x13, (uint8_t)(page >> 16), (uint8_t)(page >> 8), (uint8_t)page}, s;
    int r = command(h, 4, NULL, 0, NULL, 0);
    if (r)
        return r;
    r = wait_ready(&s);
    if (r)
        return r;
    return ecc && ((s >> 4) & 3) >= 2 ? -EBADMSG : 0;
}
static int cache_read(uint16_t column, uint8_t *out, size_t n)
{
    uint8_t h[] = {0x03, (uint8_t)(column >> 8), (uint8_t)column, 0};
    return command(h, 4, NULL, 0, out, n);
}
static int read_page(uint32_t page, uint8_t *out)
{
    int r = cache_page(page, true);
    if (r)
        return r;
    return cache_read(0, out, AJ_PAGE);
}
static bool is_bad(uint32_t block)
{
    return block >= 1024 || (bad_blocks[block / 8] & (1u << (block % 8)));
}
static int program_page(uint32_t page, const uint8_t *data)
{
    if (page >= 65536 || is_bad(page / 64))
        return -EINVAL;
    /* Never rely on software high water alone when writing unique audio. */
    int r = read_page(page, check);
    if (r)
        return r;
    for (unsigned i = 0; i < AJ_PAGE; i++)
        if (check[i] != 255)
            return -EEXIST;
    uint8_t en = 0x06, status;
    r = command(&en, 1, NULL, 0, NULL, 0);
    if (r)
        return r;
    r = feature(0xc0, &status);
    if (r || !(status & 2))
        return r ? r : -EACCES;
    uint8_t load[] = {0x02, 0, 0};
    r = command(load, 3, data, AJ_PAGE, NULL, 0);
    if (r)
        return r;
    uint8_t exec[] = {0x10, (uint8_t)(page >> 16), (uint8_t)(page >> 8), (uint8_t)page};
    r = command(exec, 4, NULL, 0, NULL, 0);
    if (r)
        return r;
    r = wait_ready(&status);
    if (r || status & 8)
        return r ? r : -EIO;
    r = read_page(page, check);
    if (r)
        return r;
    return memcmp(data, check, AJ_PAGE) ? -EBADMSG : 0;
}
int aura_nand_init(void)
{
    if (!spi_is_ready_dt(&flash))
        return -ENODEV;
    uint8_t reset = 0xff, id[3], status;
    int r = command(&reset, 1, NULL, 0, NULL, 0);
    if (r)
        return r;
    k_msleep(2);
    r = wait_ready(&status);
    if (r)
        return r;
    uint8_t h[] = {0x9f, 0};
    r = command(h, 2, NULL, 0, id, 3);
    if (r)
        return r;
    if (id[0] != 0xef || id[1] != 0xaa || id[2] != 0x21)
        return -ENODEV;
    r = set_feature(0xb0, 0x08);
    if (r)
        return r; /* BUF=1, ECC=0 for manufacturer markers */
    memset(bad_blocks, 0, sizeof(bad_blocks));
    for (uint32_t b = 0; b < 1024; b++) {
        for (uint32_t p = 0; p < 2; p++) {
            uint8_t m, main_marker;
            int e = cache_page(b * 64 + p, false);
            if (!e)
                e = cache_read(2048, &m, 1);
            if (!e)
                e = cache_read(0, &main_marker, 1);
            if (e || m != 255 || main_marker != 255) {
                bad_blocks[b / 8] |= 1u << (b % 8);
                break;
            }
        }
    }
    r = set_feature(0xa0, 0);
    if (r)
        return r;
    r = set_feature(0xb0, 0x18);
    if (r)
        return r;
    r = feature(0xb0, &status);
    if (r || ((status & 0x18) != 0x18))
        return r ? r : -EIO;
    return 0;
}
struct aj_io aura_nand_io(void)
{
    return (struct aj_io){read_page, program_page, is_bad, 65536};
}
int aura_nand_erase_block(uint32_t block)
{
    if (block >= 1024 || is_bad(block))
        return -EINVAL;
    uint8_t en = 0x06, status;
    int r = command(&en, 1, NULL, 0, NULL, 0);
    if (r)
        return r;
    r = feature(0xc0, &status);
    if (r || !(status & 2))
        return r ? r : -EACCES;
    uint32_t page = block * 64;
    uint8_t h[] = {0xd8, (uint8_t)(page >> 16), (uint8_t)(page >> 8), (uint8_t)page};
    r = command(h, 4, NULL, 0, NULL, 0);
    if (r)
        return r;
    r = wait_ready(&status);
    if (r || status & 4)
        return r ? r : -EIO;
    /* Verify complete erased main area. Factory bad blocks were skipped. */
    for (unsigned n = 0; n < 64; n++) {
        r = read_page(page + n, check);
        if (r)
            return r;
        for (unsigned j = 0; j < AJ_PAGE; j++)
            if (check[j] != 255)
                return -EIO;
    }
    return 0;
}
```
